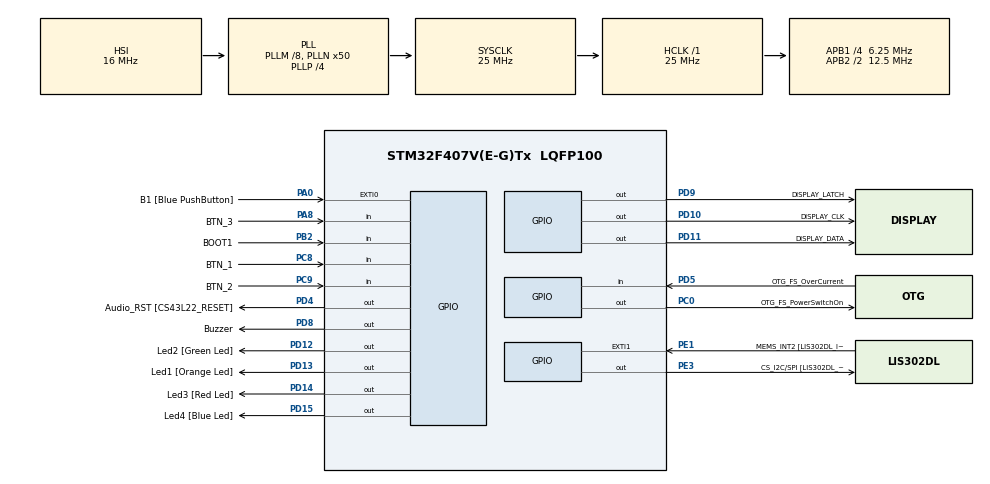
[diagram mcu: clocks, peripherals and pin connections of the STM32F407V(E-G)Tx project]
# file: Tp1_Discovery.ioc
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Mcu.Family=STM32F4
Mcu.Name=STM32F407V(E-G)Tx
Mcu.Package=LQFP100
NVIC.PriorityGroup=NVIC_PRIORITYGROUP_0
PA0-WKUP.GPIO_Label=B1 [Blue PushButton]
PA0-WKUP.Signal=GPXTI0
PA10.GPIO_Label=OTG_FS_ID
PA10.GPIO_Mode=GPIO_MODE_AF_PP
PA10.GPIO_PuPd=GPIO_NOPULL
PA10.GPIO_Speed=GPIO_SPEED_FREQ_LOW
PA10.Signal=USB_OTG_FS_ID
PA11.GPIO_Label=OTG_FS_DM
PA11.GPIO_Mode=GPIO_MODE_AF_PP
PA11.GPIO_PuPd=GPIO_NOPULL
PA11.GPIO_Speed=GPIO_SPEED_FREQ_LOW
PA11.Signal=USB_OTG_FS_DM
PA12.GPIO_Label=OTG_FS_DP
PA12.GPIO_Mode=GPIO_MODE_AF_PP
PA12.GPIO_PuPd=GPIO_NOPULL
PA12.GPIO_Speed=GPIO_SPEED_FREQ_LOW
PA12.Signal=USB_OTG_FS_DP
PA13.GPIO_Label=SWDIO
PA13.Mode=Serial_Wire
PA13.Signal=SYS_JTMS-SWDIO
PA14.GPIO_Label=SWCLK
PA14.Mode=Serial_Wire
PA14.Signal=SYS_JTCK-SWCLK
PA4.GPIO_Label=I2S3_WS [CS43L22_LRCK]
PA4.GPIO_Mode=GPIO_MODE_AF_PP
PA4.GPIO_PuPd=GPIO_NOPULL
PA4.GPIO_Speed=GPIO_SPEED_FREQ_LOW
PA4.Signal=I2S3_WS
PA5.GPIO_Label=SPI1_SCK [LIS302DL_SCL/SPC]
PA5.GPIO_Mode=GPIO_MODE_AF_PP
PA5.GPIO_PuPd=GPIO_NOPULL
PA5.GPIO_Speed=GPIO_SPEED_FREQ_LOW
PA5.Signal=SPI1_SCK
PA6.GPIO_Label=SPI1_MISO [LIS302DL_SDO]
PA6.GPIO_Mode=GPIO_MODE_AF_PP
PA6.GPIO_PuPd=GPIO_NOPULL
PA6.GPIO_Speed=GPIO_SPEED_FREQ_LOW
PA6.Signal=SPI1_MISO
PA7.GPIO_Label=SPI1_MOSI [LIS302DL_SDA/SDI/SDO]
PA7.GPIO_Mode=GPIO_MODE_AF_PP
PA7.GPIO_PuPd=GPIO_NOPULL
PA7.GPIO_Speed=GPIO_SPEED_FREQ_LOW
PA7.Signal=SPI1_MOSI
PA8.GPIO_Label=BTN_3
PA8.GPIO_PuPd=GPIO_PULLUP
PA8.Signal=GPIO_Input
PA9.GPIO_Label=VBUS_FS
PA9.GPIO_Mode=GPIO_MODE_INPUT
PA9.GPIO_PuPd=GPIO_NOPULL
PA9.Signal=USB_OTG_FS_VBUS
PB10.GPIO_Label=CLK_IN [MP45DT02_CLK]
PB10.GPIO_Mode=GPIO_MODE_AF_PP
PB10.GPIO_PuPd=GPIO_NOPULL
PB10.GPIO_Speed=GPIO_SPEED_FREQ_LOW
PB10.Signal=I2S2_CK
PB2.GPIO_Label=BOOT1
PB2.GPIO_Mode=GPIO_MODE_INPUT
PB2.GPIO_PuPd=GPIO_NOPULL
PB2.Signal=GPIO_Input
PB3.GPIO_Label=SWO
PB3.Signal=SYS_JTDO-SWO
PB6.GPIO_Label=Audio_SCL [CS43L22_SCL]
PB6.GPIO_Mode=GPIO_MODE_AF_OD
PB6.GPIO_PuPd=GPIO_NOPULL
PB6.GPIO_Speed=GPIO_SPEED_FREQ_LOW
PB6.Signal=I2C1_SCL
PB9.GPIO_Label=Audio_SDA [CS43L22_SDA]
PB9.GPIO_Mode=GPIO_MODE_AF_OD
PB9.GPIO_PuPd=GPIO_NOPULL
PB9.GPIO_Speed=GPIO_SPEED_FREQ_LOW
PB9.Signal=I2C1_SDA
PC0.GPIO_Label=OTG_FS_PowerSwitchOn
PC0.GPIO_PuPd=GPIO_NOPULL
PC0.GPIO_Speed=GPIO_SPEED_FREQ_LOW
PC0.PinState=GPIO_PIN_SET
PC0.Signal=GPIO_Output
PC10.GPIO_Label=I2S3_SCK [CS43L22_SCLK]
PC10.GPIO_Mode=GPIO_MODE_AF_PP
PC10.GPIO_PuPd=GPIO_NOPULL
PC10.GPIO_Speed=GPIO_SPEED_FREQ_LOW
PC10.Signal=I2S3_CK
PC12.GPIO_Label=I2S3_SD [CS43L22_SDIN]
PC12.GPIO_Mode=GPIO_MODE_AF_PP
PC12.GPIO_PuPd=GPIO_NOPULL
PC12.GPIO_Speed=GPIO_SPEED_FREQ_LOW
PC12.Signal=I2S3_SD
PC14-OSC32_IN.GPIO_Label=PC14-OSC32_IN
PC14-OSC32_IN.Signal=RCC_OSC32_IN
PC15-OSC32_OUT.GPIO_Label=PC15-OSC32_OUT
PC15-OSC32_OUT.Signal=RCC_OSC32_OUT
PC3.GPIO_Label=PDM_OUT [MP45DT02_DOUT]
PC3.GPIO_Mode=GPIO_MODE_AF_PP
PC3.GPIO_PuPd=GPIO_NOPULL
PC3.GPIO_Speed=GPIO_SPEED_FREQ_LOW
PC3.Signal=I2S2_SD
PC7.GPIO_Label=I2S3_MCK [CS43L22_MCLK]
PC7.GPIO_Mode=GPIO_MODE_AF_PP
PC7.GPIO_PuPd=GPIO_NOPULL
PC7.GPIO_Speed=GPIO_SPEED_FREQ_LOW
PC7.Signal=I2S3_MCK
PC8.GPIO_Label=BTN_1
PC8.GPIO_PuPd=GPIO_PULLUP
PC8.Signal=GPIO_Input
PC9.GPIO_Label=BTN_2
PC9.GPIO_PuPd=GPIO_PULLUP
PC9.Signal=GPIO_Input
PD10.GPIO_Label=DISPLAY_CLK
PD10.Signal=GPIO_Output
PD11.GPIO_Label=DISPLAY_DATA
PD11.Signal=GPIO_Output
PD12.GPIO_Label=Led2 [Green Led]
PD12.GPIO_PuPd=GPIO_NOPULL
PD12.GPIO_Speed=GPIO_SPEED_FREQ_LOW
PD12.Signal=GPIO_Output
PD13.GPIO_Label=Led1 [Orange Led]
PD13.GPIO_PuPd=GPIO_NOPULL
PD13.GPIO_Speed=GPIO_SPEED_FREQ_LOW
PD13.Signal=GPIO_Output
PD14.GPIO_Label=Led3 [Red Led]
PD14.GPIO_PuPd=GPIO_NOPULL
PD14.GPIO_Speed=GPIO_SPEED_FREQ_LOW
PD14.Signal=GPIO_Output
PD15.GPIO_Label=Led4 [Blue Led]
PD15.GPIO_PuPd=GPIO_NOPULL
PD15.GPIO_Speed=GPIO_SPEED_FREQ_LOW
PD15.Signal=GPIO_Output
PD4.GPIO_Label=Audio_RST [CS43L22_RESET]
PD4.GPIO_PuPd=GPIO_NOPULL
PD4.GPIO_Speed=GPIO_SPEED_FREQ_LOW
PD4.Signal=GPIO_Output
PD5.GPIO_Label=OTG_FS_OverCurrent
PD5.GPIO_Mode=GPIO_MODE_INPUT
PD5.GPIO_PuPd=GPIO_NOPULL
PD5.Signal=GPIO_Input
PD8.GPIO_Label=Buzzer
PD8.Signal=GPIO_Output
PD9.GPIO_Label=DISPLAY_LATCH
PD9.Signal=GPIO_Output
PE1.GPIO_Label=MEMS_INT2 [LIS302DL_INT2]
PE1.GPIO_ModeDefaultEXTI=GPIO_MODE_EVT_RISING
PE1.GPIO_PuPd=GPIO_NOPULL
PE1.Signal=GPXTI1
PE3.GPIO_Label=CS_I2C/SPI [LIS302DL_CS_I2C/SPI]
PE3.GPIO_PuPd=GPIO_NOPULL
PE3.GPIO_Speed=GPIO_SPEED_FREQ_LOW
PE3.Signal=GPIO_Output
PH0-OSC_IN.GPIO_Label=PH0-OSC_IN
PH0-OSC_IN.Signal=RCC_OSC_IN
PH1-OSC_OUT.GPIO_Label=PH1-OSC_OUT
PH1-OSC_OUT.Signal=RCC_OSC_OUT
ProjectManager.HeapSize=0x200
ProjectManager.StackSize=0x400
ProjectManager.TargetToolchain=STM32CubeIDE
RCC.48MHZClocksFreq_Value=14285714.285714285
RCC.AHBFreq_Value=25000000
RCC.APB1CLKDivider=RCC_HCLK_DIV4
RCC.APB1Freq_Value=6250000
RCC.APB1TimFreq_Value=12500000
RCC.APB2CLKDivider=RCC_HCLK_DIV2
RCC.APB2Freq_Value=12500000
RCC.APB2TimFreq_Value=25000000
RCC.CortexFreq_Value=25000000
RCC.HCLKFreq_Value=25000000
RCC.HSE_VALUE=8000000
RCC.HSI_VALUE=16000000
RCC.LSE_VALUE=32768
RCC.PLLM=8
RCC.PLLN=50
RCC.PLLP=RCC_PLLP_DIV4
RCC.PLLQ=7
RCC.SYSCLKFreq_VALUE=25000000
RCC.SYSCLKSource=RCC_SYSCLKSOURCE_PLLCLK
RCC.VCOOutputFreq_Value=100000000
board=STM32F407G-DISC1

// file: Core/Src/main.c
/* USER CODE BEGIN Header */
/**
  ******************************************************************************
  * @file           : main.c
  * @brief          : Main program body
  ******************************************************************************
  * @attention
  *
  * Copyright (c) 2026 STMicroelectronics.
  * All rights reserved.
  *
  * This software is licensed under terms that can be found in the LICENSE file
  * in the root directory of this software component.
  * If no LICENSE file comes with this software, it is provided AS-IS.
  *
  ******************************************************************************
  */
/* USER CODE END Header */
#include "main.h"
#include "gpio.h"

/* USER CODE BEGIN Includes */
#include "efectos.h"
#include "display7seg.h"
#include "boton.h"
#include "buzzer.h"
/* USER CODE END Includes */

/* USER CODE BEGIN PV */
extern uint8_t modo_efecto_leds;
/* USER CODE END PV */

void SystemClock_Config(void);

int main(void)
{

  /* MCU Configuration--------------------------------------------------------*/

  /* Reset of all peripherals, Initializes the Flash interface and the Systick. */
  HAL_Init();

  /* Configure the system clock */
  SystemClock_Config();

  /* Initialize all configured peripherals */
  MX_GPIO_Init();

  /* Infinite loop */
  /* USER CODE BEGIN WHILE */
  Buzzer_Init();

  while (1)
  {
    /* USER CODE END WHILE */

    /* USER CODE BEGIN 3 */
	  Display_Refresh_Task();
	  Display_Contador_Task();
	  Read_Button_Task();

	  if (modo_efecto_leds == 1) {
		  Auto_Fantastico();
	} else if (modo_efecto_leds == 2) {
		Contador_Binario();
	} else {
		HAL_GPIO_WritePin(GPIOD, Led1_Pin | Led2_Pin | Led3_Pin | Led4_Pin, GPIO_PIN_SET);
	}

	  Buzzer_Alarm_Task();
  }
  /* USER CODE END 3 */
}

void SystemClock_Config(void)
{
  RCC_OscInitTypeDef RCC_OscInitStruct = {0};
  RCC_ClkInitTypeDef RCC_ClkInitStruct = {0};

  /** Configure the main internal regulator output voltage
  */
  __HAL_RCC_PWR_CLK_ENABLE();
  __HAL_PWR_VOLTAGESCALING_CONFIG(PWR_REGULATOR_VOLTAGE_SCALE1);

  /** Initializes the RCC Oscillators according to the specified parameters
  * in the RCC_OscInitTypeDef structure.
  */
  RCC_OscInitStruct.OscillatorType = RCC_OSCILLATORTYPE_HSI;
  RCC_OscInitStruct.HSIState = RCC_HSI_ON;
  RCC_OscInitStruct.HSICalibrationValue = RCC_HSICALIBRATION_DEFAULT;
  RCC_OscInitStruct.PLL.PLLState = RCC_PLL_ON;
  RCC_OscInitStruct.PLL.PLLSource = RCC_PLLSOURCE_HSI;
  RCC_OscInitStruct.PLL.PLLM = 8;
  RCC_OscInitStruct.PLL.PLLN = 50;
  RCC_OscInitStruct.PLL.PLLP = RCC_PLLP_DIV4;
  RCC_OscInitStruct.PLL.PLLQ = 7;
  if (HAL_RCC_OscConfig(&RCC_OscInitStruct) != HAL_OK)
  {
    Error_Handler();
  }

  /** Initializes the CPU, AHB and APB buses clocks
  */
  RCC_ClkInitStruct.ClockType = RCC_CLOCKTYPE_HCLK|RCC_CLOCKTYPE_SYSCLK
                              |RCC_CLOCKTYPE_PCLK1|RCC_CLOCKTYPE_PCLK2;
  RCC_ClkInitStruct.SYSCLKSource = RCC_SYSCLKSOURCE_PLLCLK;
  RCC_ClkInitStruct.AHBCLKDivider = RCC_SYSCLK_DIV1;
  RCC_ClkInitStruct.APB1CLKDivider = RCC_HCLK_DIV4;
  RCC_ClkInitStruct.APB2CLKDivider = RCC_HCLK_DIV2;

  if (HAL_RCC_ClockConfig(&RCC_ClkInitStruct, FLASH_LATENCY_0) != HAL_OK)
  {
    Error_Handler();
  }
}

void Error_Handler(void)
{
  __disable_irq();
  while (1)
  {
  }
}
